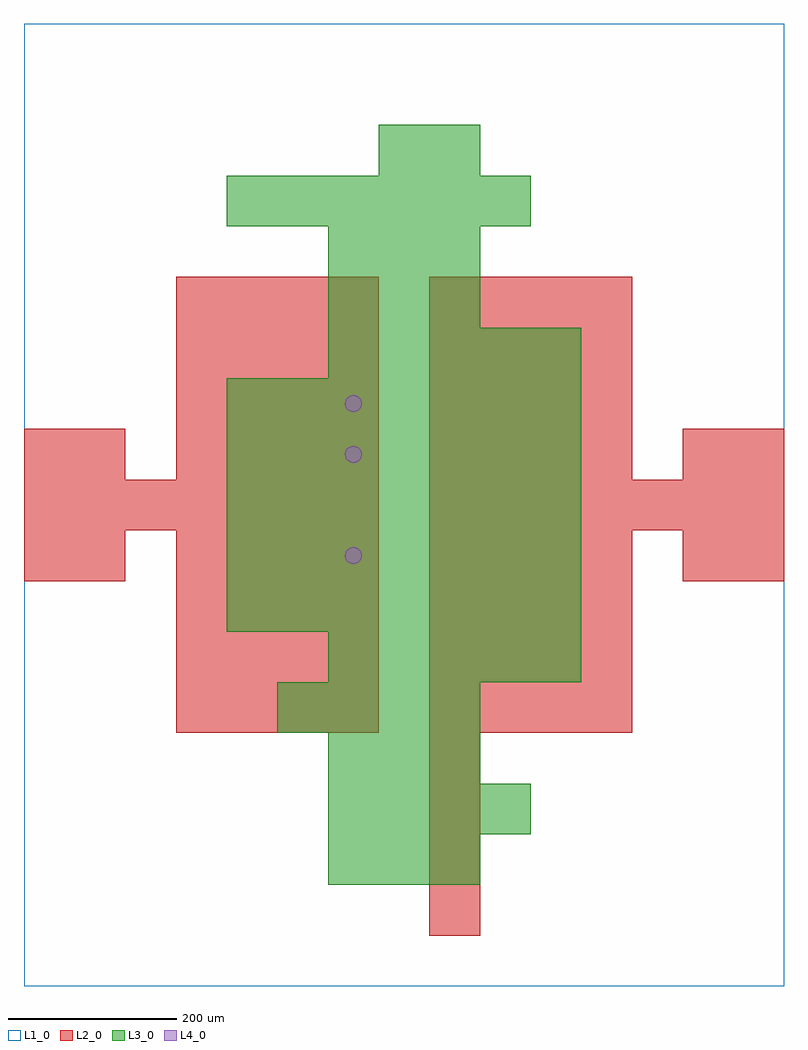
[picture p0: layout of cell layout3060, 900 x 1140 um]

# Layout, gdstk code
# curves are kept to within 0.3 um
import gdstk
lib = gdstk.Library(unit=1e-6, precision=1e-09)
def R(c, l, rs):  # rectangles x0, y0, x1, y1
    for r in rs: c.add(gdstk.rectangle(r[:2], r[2:], *l))
def A(c, l, x, y, w, h, nx, ny, dx, dy):  # array of equal rectangles
    R(c, l, [(x+i*dx, y+j*dy, x+i*dx+w, y+j*dy+h) for i in range(nx) for j in range(ny)])
def P(c, l, *ps):  # polygons
    for p in ps: c.add(gdstk.Polygon(p, *l))
L1_0 = (1, 0)
L2_0 = (2, 0)
L3_0 = (3, 0)
L4_0 = (4, 0)

layout3060 = lib.new_cell('layout3060')
R(layout3060, L1_0, [(0,0,900,1140)])
A(layout3060, L2_0, 480, 60, 60, 60, 1, 4, 0, 60)
A(layout3060, L2_0, 180, 300, 60, 60, 4, 4, 60, 60)
A(layout3060, L2_0, 480, 300, 60, 60, 4, 4, 60, 60)
A(layout3060, L2_0, 0, 540, 60, 60, 7, 1, 60, 0)
A(layout3060, L2_0, 480, 540, 60, 60, 7, 1, 60, 0)
A(layout3060, L2_0, 180, 600, 60, 60, 4, 4, 60, 60)
A(layout3060, L2_0, 480, 600, 60, 60, 4, 4, 60, 60)
R(layout3060, L2_0, [(0,480,60,540), (60,480,120,540), (780,480,840,540), (840,480,900,540), (0,600,60,660), (60,600,120,660), (780,600,840,660), (840,600,900,660)])
A(layout3060, L3_0, 360, 120, 60, 60, 3, 2, 60, 120)
A(layout3060, L3_0, 360, 180, 60, 60, 4, 1, 60, 0)
A(layout3060, L3_0, 300, 300, 60, 60, 4, 1, 60, 0)
A(layout3060, L3_0, 360, 360, 60, 60, 5, 2, 60, 360)
A(layout3060, L3_0, 240, 420, 60, 60, 7, 5, 60, 60)
A(layout3060, L3_0, 360, 780, 60, 60, 3, 2, 60, 60)
A(layout3060, L3_0, 240, 900, 60, 60, 6, 1, 60, 0)
R(layout3060, L3_0, [(420,960,480,1020), (480,960,540,1020)])
P(layout3060, L4_0, [(400,510),(399.239,513.827),(397.071,517.071),(393.827,519.239),(390,520),(386.173,519.239),(382.929,517.071),(380.761,513.827),(380,510),(380.761,506.173),(382.929,502.929),(386.173,500.761),(390,500),(393.827,500.761),(397.071,502.929),(399.239,506.173)],
  [(400,630),(399.239,633.827),(397.071,637.071),(393.827,639.239),(390,640),(386.173,639.239),(382.929,637.071),(380.761,633.827),(380,630),(380.761,626.173),(382.929,622.929),(386.173,620.761),(390,620),(393.827,620.761),(397.071,622.929),(399.239,626.173)],
  [(400,690),(399.239,693.827),(397.071,697.071),(393.827,699.239),(390,700),(386.173,699.239),(382.929,697.071),(380.761,693.827),(380,690),(380.761,686.173),(382.929,682.929),(386.173,680.761),(390,680),(393.827,680.761),(397.071,682.929),(399.239,686.173)])

lib.write_gds('layout3060.gds')
